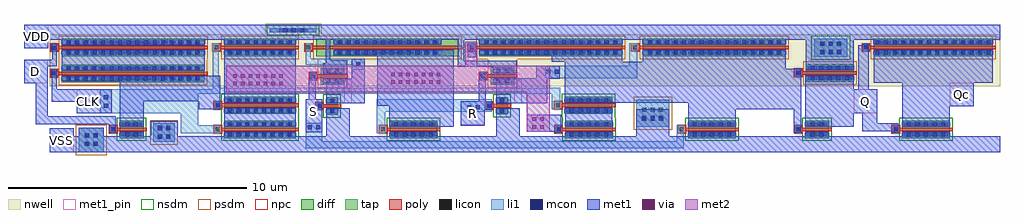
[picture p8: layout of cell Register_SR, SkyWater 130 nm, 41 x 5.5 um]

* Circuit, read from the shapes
.subckt Register_SR CLK D Q Qc R S VDD VSS
XM1 n1 D VSS VSS sky130_fd_pr__nfet_01v8 w=1 l=0.15
XM2 n2 CLK VSS VSS sky130_fd_pr__nfet_01v8 w=3 l=0.15
XM3 n3 n1 n2 VSS sky130_fd_pr__nfet_01v8 w=3 l=0.15
XM4 Inv2-1_3/Out S VSS VSS sky130_fd_pr__nfet_01v8 w=0.5 l=0.15
XM5 n3 R VSS VSS sky130_fd_pr__nfet_01v8 w=2 l=0.15
XM6 Inv2-1_8/Out R VSS VSS sky130_fd_pr__nfet_01v8 w=0.5 l=0.15
XM7 n4 CLK n5 VSS sky130_fd_pr__nfet_01v8 w=2 l=0.15
XM8 n5 n3 VSS VSS sky130_fd_pr__nfet_01v8 w=2 l=0.15
XM9 n4 S VSS VSS sky130_fd_pr__nfet_01v8 w=2 l=0.15
XM10 Q n4 VSS VSS sky130_fd_pr__nfet_01v8 w=1 l=0.15
XM11 Qc Q VSS VSS sky130_fd_pr__nfet_01v8 w=2 l=0.15
XM12 n6 CLK n1 VDD sky130_fd_pr__pfet_01v8 w=6 l=0.15
XM13 VDD D n6 VDD sky130_fd_pr__pfet_01v8 w=6 l=0.15
XM14 VDD CLK n3 VDD sky130_fd_pr__pfet_01v8 w=3 l=0.15
XM15 VDD Inv2-1_3/Out n3 VDD sky130_fd_pr__pfet_01v8 w=6 l=0.15
XM16 VDD S Inv2-1_3/Out VDD sky130_fd_pr__pfet_01v8 w=1 l=0.15
XM17 VDD n3 n4 VDD sky130_fd_pr__pfet_01v8 w=6 l=0.15
XM18 VDD R Inv2-1_8/Out VDD sky130_fd_pr__pfet_01v8 w=1 l=0.15
XM19 VDD Inv2-1_8/Out n4 VDD sky130_fd_pr__pfet_01v8 w=6 l=0.15
XM20 VDD n4 Q VDD sky130_fd_pr__pfet_01v8 w=2 l=0.15
XM21 VDD Q Qc VDD sky130_fd_pr__pfet_01v8 w=5 l=0.15
.ends

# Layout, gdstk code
from math import pi, radians
import gdstk
lib = gdstk.Library(unit=1e-6, precision=1e-09)
def R(c, l, rs):  # rectangles x0, y0, x1, y1
    for r in rs: c.add(gdstk.rectangle(r[:2], r[2:], *l))
def A(c, l, x, y, w, h, nx, ny, dx, dy):  # array of equal rectangles
    R(c, l, [(x+i*dx, y+j*dy, x+i*dx+w, y+j*dy+h) for i in range(nx) for j in range(ny)])
nwell = (64, 20)
diff = (65, 20)
tap = (65, 44)
poly = (66, 20)
licon = (66, 44)
li1 = (67, 20)
mcon = (67, 44)
met1_pin = (68, 16)
met1 = (68, 20)
via = (68, 44)
met2 = (69, 20)
nsdm = (93, 44)
psdm = (94, 20)
npc = (95, 20)

sky130_fd_pr__nfet_01v8_ = lib.new_cell('sky130_fd_pr__nfet_01v8_NTFR9R')
R(sky130_fd_pr__nfet_01v8_, diff, [(-0.365,-0.655,0.365,0.345)])
R(sky130_fd_pr__nfet_01v8_, poly, [(-0.075,-0.785,0.075,0.455), (-0.165,0.455,0.165,0.785)])
A(sky130_fd_pr__nfet_01v8_, licon, -0.305, -0.58, 0.17, 0.17, 1, 3, 0, 0.34)
A(sky130_fd_pr__nfet_01v8_, licon, 0.135, -0.58, 0.17, 0.17, 1, 3, 0, 0.34)
R(sky130_fd_pr__nfet_01v8_, licon, [(-0.085,0.535,0.085,0.705)])
R(sky130_fd_pr__nfet_01v8_, li1, [(-0.305,-0.675,-0.135,0.365), (0.135,-0.675,0.305,0.365), (-0.165,0.535,0.165,0.705)])
R(sky130_fd_pr__nfet_01v8_, mcon, [(-0.305,-0.42,-0.135,-0.25), (0.135,-0.42,0.305,-0.25), (-0.305,-0.06,-0.135,0.11), (0.135,-0.06,0.305,0.11), (-0.085,0.535,0.085,0.705)])
R(sky130_fd_pr__nfet_01v8_, met1, [(-0.335,-0.655,-0.105,0.345), (0.105,-0.655,0.335,0.345), (-0.145,0.505,0.145,0.735)])
R(sky130_fd_pr__nfet_01v8_, nsdm, [(-0.49,-0.78,0.49,0.47)])
R(sky130_fd_pr__nfet_01v8_, npc, [(-0.185,0.435,0.185,0.805)])

sky130_fd_pr__pfet_01v8_ = lib.new_cell('sky130_fd_pr__pfet_01v8_C6DMSJ')
R(sky130_fd_pr__pfet_01v8_, nwell, [(-0.545,-3.49,0.545,3.32)])
R(sky130_fd_pr__pfet_01v8_, diff, [(-0.365,-3.18,0.365,2.82)])
R(sky130_fd_pr__pfet_01v8_, poly, [(-0.075,-3.31,0.075,2.975), (-0.165,2.975,0.165,3.305)])
A(sky130_fd_pr__pfet_01v8_, licon, -0.305, -2.985, 0.17, 0.17, 1, 17, 0, 0.34)
A(sky130_fd_pr__pfet_01v8_, licon, 0.135, -2.985, 0.17, 0.17, 1, 17, 0, 0.34)
R(sky130_fd_pr__pfet_01v8_, licon, [(-0.085,3.055,0.085,3.225)])
R(sky130_fd_pr__pfet_01v8_, li1, [(-0.305,-3.2,-0.135,2.84), (0.135,-3.2,0.305,2.84), (-0.165,3.055,0.165,3.225)])
A(sky130_fd_pr__pfet_01v8_, mcon, -0.305, -2.965, 0.17, 0.17, 1, 16, 0, 0.36)
A(sky130_fd_pr__pfet_01v8_, mcon, 0.135, -2.965, 0.17, 0.17, 1, 16, 0, 0.36)
R(sky130_fd_pr__pfet_01v8_, mcon, [(-0.085,3.055,0.085,3.225)])
R(sky130_fd_pr__pfet_01v8_, met1, [(-0.335,-3.18,-0.105,2.82), (0.105,-3.18,0.335,2.82), (-0.145,3.025,0.145,3.255)])
R(sky130_fd_pr__pfet_01v8_, psdm, [(-0.49,-3.305,0.49,2.945)])
R(sky130_fd_pr__pfet_01v8_, npc, [(-0.185,2.955,0.185,3.325)])

c_sky130_fd_pr__pfet_01v8_ = lib.new_cell('sky130_fd_pr__pfet_01v8_F97YLM')
R(c_sky130_fd_pr__pfet_01v8_, nwell, [(-0.545,-0.99,0.545,0.82)])
R(c_sky130_fd_pr__pfet_01v8_, diff, [(-0.365,-0.68,0.365,0.32)])
R(c_sky130_fd_pr__pfet_01v8_, poly, [(-0.075,-0.81,0.075,0.475), (-0.165,0.475,0.165,0.805)])
R(c_sky130_fd_pr__pfet_01v8_, licon, [(-0.305,-0.435,-0.135,-0.265), (0.135,-0.435,0.305,-0.265), (-0.305,-0.095,-0.135,0.075), (0.135,-0.095,0.305,0.075), (-0.085,0.555,0.085,0.725)])
R(c_sky130_fd_pr__pfet_01v8_, li1, [(-0.305,-0.59,-0.135,0.23), (0.135,-0.59,0.305,0.23), (-0.165,0.555,0.165,0.725)])
R(c_sky130_fd_pr__pfet_01v8_, mcon, [(-0.305,-0.445,-0.135,-0.275), (0.135,-0.445,0.305,-0.275), (-0.305,-0.085,-0.135,0.085), (0.135,-0.085,0.305,0.085), (-0.085,0.555,0.085,0.725)])
R(c_sky130_fd_pr__pfet_01v8_, met1, [(-0.335,-0.57,-0.105,0.21), (0.105,-0.57,0.335,0.21), (-0.145,0.525,0.145,0.755)])
R(c_sky130_fd_pr__pfet_01v8_, psdm, [(-0.49,-0.805,0.49,0.445)])
R(c_sky130_fd_pr__pfet_01v8_, npc, [(-0.185,0.455,0.185,0.825)])

c_sky130_fd_pr__nfet_01v8_ = lib.new_cell('sky130_fd_pr__nfet_01v8_8DMXDH')
R(c_sky130_fd_pr__nfet_01v8_, diff, [(-0.365,-0.405,0.365,0.095)])
R(c_sky130_fd_pr__nfet_01v8_, poly, [(-0.075,-0.535,0.075,0.205), (-0.165,0.205,0.165,0.535)])
R(c_sky130_fd_pr__nfet_01v8_, licon, [(-0.305,-0.24,-0.135,-0.07), (0.135,-0.24,0.305,-0.07), (-0.085,0.285,0.085,0.455)])
R(c_sky130_fd_pr__nfet_01v8_, li1, [(-0.305,-0.425,-0.135,0.115), (0.135,-0.425,0.305,0.115), (-0.165,0.285,0.165,0.455)])
R(c_sky130_fd_pr__nfet_01v8_, mcon, [(-0.305,-0.24,-0.135,-0.07), (0.135,-0.24,0.305,-0.07), (-0.085,0.285,0.085,0.455)])
R(c_sky130_fd_pr__nfet_01v8_, met1, [(-0.335,-0.405,-0.105,0.095), (0.105,-0.405,0.335,0.095), (-0.145,0.255,0.145,0.485)])
R(c_sky130_fd_pr__nfet_01v8_, nsdm, [(-0.49,-0.53,0.49,0.22)])
R(c_sky130_fd_pr__nfet_01v8_, npc, [(-0.185,0.185,0.185,0.555)])

inv2_1 = lib.new_cell('Inv2-1')
R(inv2_1, met1_pin, [(2.73,-3.84,3.04,-2.84)])
R(inv2_1, met1, [(1.96,-4.31,2.96,-4.05), (1.23,-4.11,1.8,-3.78), (1.96,-3.84,3.04,-2.95), (1.23,-3.78,1.52,-2.84), (2.06,-2.95,3.04,-2.8), (1.84,-2.59,2.84,-2.15)])
inv2_1.add(gdstk.Reference(c_sky130_fd_pr__pfet_01v8_, (2.05,-2.695), rotation=pi/2))
inv2_1.add(gdstk.Reference(c_sky130_fd_pr__nfet_01v8_, (2.055,-3.945), rotation=pi/2))
inv2_1.add(gdstk.Label('Out', (2.885,-3.34), layer=68, texttype=5))

c_sky130_fd_pr__pfet_01v8__ = lib.new_cell('sky130_fd_pr__pfet_01v8_8SDNUD')
R(c_sky130_fd_pr__pfet_01v8__, nwell, [(-0.545,-3.49,0.545,3.32)])
R(c_sky130_fd_pr__pfet_01v8__, diff, [(-0.365,-3.18,0.365,2.82)])
R(c_sky130_fd_pr__pfet_01v8__, poly, [(-0.075,-3.31,0.075,2.975), (-0.165,2.975,0.165,3.305)])
A(c_sky130_fd_pr__pfet_01v8__, licon, -0.305, -2.305, 0.17, 0.17, 1, 13, 0, 0.34)
A(c_sky130_fd_pr__pfet_01v8__, licon, 0.135, -2.305, 0.17, 0.17, 1, 13, 0, 0.34)
R(c_sky130_fd_pr__pfet_01v8__, licon, [(-0.085,3.055,0.085,3.225)])
R(c_sky130_fd_pr__pfet_01v8__, li1, [(-0.305,-2.465,-0.135,2.105), (0.135,-2.465,0.305,2.105), (-0.165,3.055,0.165,3.225)])
A(c_sky130_fd_pr__pfet_01v8__, mcon, -0.305, -2.245, 0.17, 0.17, 1, 12, 0, 0.36)
A(c_sky130_fd_pr__pfet_01v8__, mcon, 0.135, -2.245, 0.17, 0.17, 1, 12, 0, 0.36)
R(c_sky130_fd_pr__pfet_01v8__, met1, [(-0.335,-2.445,-0.105,2.085), (0.105,-2.445,0.335,2.085)])
R(c_sky130_fd_pr__pfet_01v8__, psdm, [(-0.49,-3.305,0.49,2.945)])
R(c_sky130_fd_pr__pfet_01v8__, npc, [(-0.185,2.955,0.185,3.325)])

c_sky130_fd_pr__nfet_01v8__ = lib.new_cell('sky130_fd_pr__nfet_01v8_5R7S7E')
R(c_sky130_fd_pr__nfet_01v8__, diff, [(-0.365,-1.655,0.365,1.345)])
R(c_sky130_fd_pr__nfet_01v8__, poly, [(-0.075,-1.785,0.075,1.455), (-0.165,1.455,0.165,1.785)])
A(c_sky130_fd_pr__nfet_01v8__, licon, -0.305, -1.43, 0.17, 0.17, 1, 8, 0, 0.34)
A(c_sky130_fd_pr__nfet_01v8__, licon, 0.135, -1.43, 0.17, 0.17, 1, 8, 0, 0.34)
R(c_sky130_fd_pr__nfet_01v8__, licon, [(-0.085,1.535,0.085,1.705)])
R(c_sky130_fd_pr__nfet_01v8__, li1, [(-0.305,-1.675,-0.135,1.365), (0.135,-1.675,0.305,1.365), (-0.165,1.535,0.165,1.705)])
A(c_sky130_fd_pr__nfet_01v8__, mcon, -0.305, -1.5, 0.17, 0.17, 1, 8, 0, 0.36)
A(c_sky130_fd_pr__nfet_01v8__, mcon, 0.135, -1.5, 0.17, 0.17, 1, 8, 0, 0.36)
R(c_sky130_fd_pr__nfet_01v8__, met1, [(-0.335,-1.655,-0.105,1.345), (0.105,-1.655,0.335,1.345)])
R(c_sky130_fd_pr__nfet_01v8__, nsdm, [(-0.49,-1.78,0.49,1.47)])
R(c_sky130_fd_pr__nfet_01v8__, npc, [(-0.185,1.435,0.185,1.805)])

c_sky130_fd_pr__pfet_01v8___ = lib.new_cell('sky130_fd_pr__pfet_01v8_YRA8CD')
R(c_sky130_fd_pr__pfet_01v8___, nwell, [(-0.545,-1.99,0.545,1.82)])
R(c_sky130_fd_pr__pfet_01v8___, diff, [(-0.365,-1.68,0.365,1.32)])
R(c_sky130_fd_pr__pfet_01v8___, poly, [(-0.075,-1.81,0.075,1.475), (-0.165,1.475,0.165,1.805)])
A(c_sky130_fd_pr__pfet_01v8___, licon, -0.305, -1.455, 0.17, 0.17, 1, 8, 0, 0.34)
A(c_sky130_fd_pr__pfet_01v8___, licon, 0.135, -1.455, 0.17, 0.17, 1, 8, 0, 0.34)
R(c_sky130_fd_pr__pfet_01v8___, licon, [(-0.085,1.555,0.085,1.725)])
R(c_sky130_fd_pr__pfet_01v8___, li1, [(-0.305,-1.7,-0.135,1.34), (0.135,-1.7,0.305,1.34), (-0.165,1.555,0.165,1.725)])
A(c_sky130_fd_pr__pfet_01v8___, mcon, -0.305, -1.525, 0.17, 0.17, 1, 8, 0, 0.36)
A(c_sky130_fd_pr__pfet_01v8___, mcon, 0.135, -1.525, 0.17, 0.17, 1, 8, 0, 0.36)
R(c_sky130_fd_pr__pfet_01v8___, met1, [(-0.335,-1.68,-0.105,1.32), (0.105,-1.68,0.335,1.32)])
R(c_sky130_fd_pr__pfet_01v8___, psdm, [(-0.49,-1.805,0.49,1.445)])
R(c_sky130_fd_pr__pfet_01v8___, npc, [(-0.185,1.455,0.185,1.825)])

c_sky130_fd_pr__nfet_01v8___ = lib.new_cell('sky130_fd_pr__nfet_01v8_KNTFKG')
R(c_sky130_fd_pr__nfet_01v8___, diff, [(-0.365,-1.655,0.365,1.345)])
R(c_sky130_fd_pr__nfet_01v8___, poly, [(-0.075,-1.785,0.075,1.455), (-0.165,1.455,0.165,1.785)])
A(c_sky130_fd_pr__nfet_01v8___, licon, -0.305, -1.43, 0.17, 0.17, 1, 8, 0, 0.34)
A(c_sky130_fd_pr__nfet_01v8___, licon, 0.135, -1.43, 0.17, 0.17, 1, 8, 0, 0.34)
R(c_sky130_fd_pr__nfet_01v8___, licon, [(-0.085,1.535,0.085,1.705)])
R(c_sky130_fd_pr__nfet_01v8___, li1, [(-0.305,-1.675,-0.135,1.365), (0.135,-1.675,0.305,1.365), (-0.165,1.535,0.165,1.705)])
A(c_sky130_fd_pr__nfet_01v8___, mcon, -0.305, -1.5, 0.17, 0.17, 1, 8, 0, 0.36)
A(c_sky130_fd_pr__nfet_01v8___, mcon, 0.135, -1.5, 0.17, 0.17, 1, 8, 0, 0.36)
R(c_sky130_fd_pr__nfet_01v8___, mcon, [(-0.085,1.535,0.085,1.705)])
R(c_sky130_fd_pr__nfet_01v8___, met1, [(-0.335,-1.655,-0.105,1.345), (0.105,-1.655,0.335,1.345), (-0.145,1.505,0.145,1.735)])
R(c_sky130_fd_pr__nfet_01v8___, nsdm, [(-0.49,-1.78,0.49,1.47)])
R(c_sky130_fd_pr__nfet_01v8___, npc, [(-0.185,1.435,0.185,1.805)])

c_sky130_fd_pr__nfet_01v8____ = lib.new_cell('sky130_fd_pr__nfet_01v8_TUG65L')
R(c_sky130_fd_pr__nfet_01v8____, diff, [(-0.365,-1.155,0.365,0.845)])
R(c_sky130_fd_pr__nfet_01v8____, poly, [(-0.075,-1.285,0.075,0.955), (-0.165,0.955,0.165,1.285)])
A(c_sky130_fd_pr__nfet_01v8____, licon, -0.305, -1.09, 0.17, 0.17, 1, 6, 0, 0.34)
A(c_sky130_fd_pr__nfet_01v8____, licon, 0.135, -1.09, 0.17, 0.17, 1, 6, 0, 0.34)
R(c_sky130_fd_pr__nfet_01v8____, licon, [(-0.085,1.035,0.085,1.205)])
R(c_sky130_fd_pr__nfet_01v8____, li1, [(-0.305,-1.175,-0.135,0.865), (0.135,-1.175,0.305,0.865), (-0.165,1.035,0.165,1.205)])
A(c_sky130_fd_pr__nfet_01v8____, mcon, -0.305, -0.96, 0.17, 0.17, 1, 5, 0, 0.36)
A(c_sky130_fd_pr__nfet_01v8____, mcon, 0.135, -0.96, 0.17, 0.17, 1, 5, 0, 0.36)
R(c_sky130_fd_pr__nfet_01v8____, met1, [(-0.335,-1.155,-0.105,0.845), (0.105,-1.155,0.335,0.845)])
R(c_sky130_fd_pr__nfet_01v8____, nsdm, [(-0.49,-1.28,0.49,0.97)])
R(c_sky130_fd_pr__nfet_01v8____, npc, [(-0.185,0.935,0.185,1.305)])

c_sky130_fd_pr__pfet_01v8____ = lib.new_cell('sky130_fd_pr__pfet_01v8_BF47CD')
R(c_sky130_fd_pr__pfet_01v8____, nwell, [(-0.545,-3.49,0.545,3.32)])
R(c_sky130_fd_pr__pfet_01v8____, diff, [(-0.365,-3.18,0.365,2.82)])
R(c_sky130_fd_pr__pfet_01v8____, poly, [(-0.075,-3.31,0.075,2.975), (-0.165,2.975,0.165,3.305)])
A(c_sky130_fd_pr__pfet_01v8____, licon, -0.305, -2.985, 0.17, 0.17, 1, 17, 0, 0.34)
A(c_sky130_fd_pr__pfet_01v8____, licon, 0.135, -2.985, 0.17, 0.17, 1, 17, 0, 0.34)
R(c_sky130_fd_pr__pfet_01v8____, licon, [(-0.085,3.055,0.085,3.225)])
R(c_sky130_fd_pr__pfet_01v8____, li1, [(-0.305,-3.2,-0.135,2.84), (0.135,-3.2,0.305,2.84), (-0.165,3.055,0.165,3.225)])
A(c_sky130_fd_pr__pfet_01v8____, mcon, -0.305, -2.965, 0.17, 0.17, 1, 16, 0, 0.36)
A(c_sky130_fd_pr__pfet_01v8____, mcon, 0.135, -2.965, 0.17, 0.17, 1, 16, 0, 0.36)
R(c_sky130_fd_pr__pfet_01v8____, met1, [(-0.335,-3.18,-0.105,2.82), (0.105,-3.18,0.335,2.82)])
R(c_sky130_fd_pr__pfet_01v8____, psdm, [(-0.49,-3.305,0.49,2.945)])
R(c_sky130_fd_pr__pfet_01v8____, npc, [(-0.185,2.955,0.185,3.325)])

c_sky130_fd_pr__nfet_01v8_____ = lib.new_cell('sky130_fd_pr__nfet_01v8_28RQMS')
R(c_sky130_fd_pr__nfet_01v8_____, diff, [(-0.365,-1.155,0.365,0.845)])
R(c_sky130_fd_pr__nfet_01v8_____, poly, [(-0.075,-1.285,0.075,0.955), (-0.165,0.955,0.165,1.285)])
A(c_sky130_fd_pr__nfet_01v8_____, licon, -0.305, -1.09, 0.17, 0.17, 1, 6, 0, 0.34)
A(c_sky130_fd_pr__nfet_01v8_____, licon, 0.135, -1.09, 0.17, 0.17, 1, 6, 0, 0.34)
R(c_sky130_fd_pr__nfet_01v8_____, licon, [(-0.085,1.035,0.085,1.205)])
R(c_sky130_fd_pr__nfet_01v8_____, li1, [(-0.305,-1.175,-0.135,0.865), (0.135,-1.175,0.305,0.865), (-0.165,1.035,0.165,1.205)])
A(c_sky130_fd_pr__nfet_01v8_____, mcon, -0.305, -0.96, 0.17, 0.17, 1, 5, 0, 0.36)
A(c_sky130_fd_pr__nfet_01v8_____, mcon, 0.135, -0.96, 0.17, 0.17, 1, 5, 0, 0.36)
R(c_sky130_fd_pr__nfet_01v8_____, mcon, [(-0.085,1.035,0.085,1.205)])
R(c_sky130_fd_pr__nfet_01v8_____, met1, [(-0.335,-1.155,-0.105,0.845), (0.105,-1.155,0.335,0.845), (-0.145,1.005,0.145,1.235)])
R(c_sky130_fd_pr__nfet_01v8_____, nsdm, [(-0.49,-1.28,0.49,0.97)])
R(c_sky130_fd_pr__nfet_01v8_____, npc, [(-0.185,0.935,0.185,1.305)])

c_sky130_fd_pr__pfet_01v8_____ = lib.new_cell('sky130_fd_pr__pfet_01v8_C6E4QJ')
R(c_sky130_fd_pr__pfet_01v8_____, nwell, [(-0.545,-1.49,0.545,1.32)])
R(c_sky130_fd_pr__pfet_01v8_____, diff, [(-0.365,-1.18,0.365,0.82)])
R(c_sky130_fd_pr__pfet_01v8_____, poly, [(-0.075,-1.31,0.075,0.975), (-0.165,0.975,0.165,1.305)])
A(c_sky130_fd_pr__pfet_01v8_____, licon, -0.305, -1.115, 0.17, 0.17, 1, 6, 0, 0.34)
A(c_sky130_fd_pr__pfet_01v8_____, licon, 0.135, -1.115, 0.17, 0.17, 1, 6, 0, 0.34)
R(c_sky130_fd_pr__pfet_01v8_____, licon, [(-0.085,1.055,0.085,1.225)])
R(c_sky130_fd_pr__pfet_01v8_____, li1, [(-0.305,-1.2,-0.135,0.84), (0.135,-1.2,0.305,0.84), (-0.165,1.055,0.165,1.225)])
A(c_sky130_fd_pr__pfet_01v8_____, mcon, -0.305, -0.985, 0.17, 0.17, 1, 5, 0, 0.36)
A(c_sky130_fd_pr__pfet_01v8_____, mcon, 0.135, -0.985, 0.17, 0.17, 1, 5, 0, 0.36)
R(c_sky130_fd_pr__pfet_01v8_____, mcon, [(-0.085,1.055,0.085,1.225)])
R(c_sky130_fd_pr__pfet_01v8_____, met1, [(-0.335,-1.18,-0.105,0.82), (0.105,-1.18,0.335,0.82), (-0.145,1.025,0.145,1.255)])
R(c_sky130_fd_pr__pfet_01v8_____, psdm, [(-0.49,-1.305,0.49,0.945)])
R(c_sky130_fd_pr__pfet_01v8_____, npc, [(-0.185,0.955,0.185,1.325)])

c_sky130_fd_pr__pfet_01v8______ = lib.new_cell('sky130_fd_pr__pfet_01v8_CW7USJ')
R(c_sky130_fd_pr__pfet_01v8______, nwell, [(-0.545,-2.99,0.545,2.82)])
R(c_sky130_fd_pr__pfet_01v8______, diff, [(-0.365,-2.68,0.365,2.32)])
R(c_sky130_fd_pr__pfet_01v8______, poly, [(-0.075,-2.81,0.075,2.475), (-0.165,2.475,0.165,2.805)])
A(c_sky130_fd_pr__pfet_01v8______, licon, -0.305, -2.475, 0.17, 0.17, 1, 14, 0, 0.34)
A(c_sky130_fd_pr__pfet_01v8______, licon, 0.135, -2.475, 0.17, 0.17, 1, 14, 0, 0.34)
R(c_sky130_fd_pr__pfet_01v8______, licon, [(-0.085,2.555,0.085,2.725)])
R(c_sky130_fd_pr__pfet_01v8______, li1, [(-0.305,-2.7,-0.135,2.34), (0.135,-2.7,0.305,2.34), (-0.165,2.555,0.165,2.725)])
A(c_sky130_fd_pr__pfet_01v8______, mcon, -0.305, -2.605, 0.17, 0.17, 1, 14, 0, 0.36)
A(c_sky130_fd_pr__pfet_01v8______, mcon, 0.135, -2.605, 0.17, 0.17, 1, 14, 0, 0.36)
R(c_sky130_fd_pr__pfet_01v8______, mcon, [(-0.085,2.555,0.085,2.725)])
R(c_sky130_fd_pr__pfet_01v8______, met1, [(-0.335,-2.68,-0.105,2.32), (0.105,-2.68,0.335,2.32), (-0.145,2.525,0.145,2.755)])
R(c_sky130_fd_pr__pfet_01v8______, psdm, [(-0.49,-2.805,0.49,2.445)])
R(c_sky130_fd_pr__pfet_01v8______, npc, [(-0.185,2.455,0.185,2.825)])

register_sr = lib.new_cell('Register_SR')
R(register_sr, nwell, [(2.56,-6.28,42.48,-4.1), (11.62,-4.1,13.98,-3.66)])
R(register_sr, tap, [(3.78,-9.04,4.84,-8.02), (6.91,-8.61,7.82,-7.83), (27.21,-7.97,28.58,-6.84), (34.68,-5.04,36.06,-4.28), (11.8,-4.01,13.76,-3.84)])
A(register_sr, licon, 27.46, -7.68, 0.17, 0.17, 3, 2, 0.34, 0.34)
A(register_sr, licon, 34.95, -4.92, 0.17, 0.17, 3, 2, 0.34, 0.34)
A(register_sr, licon, 12.2, -4.01, 0.17, 0.17, 4, 1, 0.34, 0)
R(register_sr, licon, [(4.05,-8.775,4.22,-8.605), (4.39,-8.775,4.56,-8.605), (7.11,-8.465,7.28,-8.295), (7.45,-8.465,7.62,-8.295), (4.05,-8.435,4.22,-8.265), (4.39,-8.435,4.56,-8.265), (7.11,-8.125,7.28,-7.955), (7.45,-8.125,7.62,-7.955)])
R(register_sr, li1, [(3.78,-9.04,4.84,-8.02), (13.31,-8.89,29.19,-8.59), (6.91,-8.61,7.82,-7.83), (13.31,-8.59,14.01,-7.82), (28.91,-8.59,29.19,-7.92), (8.07,-8.25,9.64,-7.92), (16.29,-8.25,16.65,-7.35), (27.21,-7.97,28.58,-6.84), (8.07,-7.92,8.81,-7.4), (4.69,-7.4,8.81,-6.6), (16.29,-7.35,21.12,-6.83), (23.65,-7.24,24.01,-6.6), (4.69,-6.6,24.01,-6.4), (9.41,-6.4,24.01,-6.33), (9.41,-6.33,9.67,-4.48), (23.37,-5.94,27.25,-5.41), (15.25,-5.58,15.79,-5.37), (26.91,-5.41,27.25,-4.48), (13.31,-5.37,15.79,-5.12), (13.31,-5.12,13.52,-4.48), (34.68,-5.04,36.06,-4.28), (11.8,-4.01,13.76,-3.84)])
A(register_sr, mcon, 27.44, -7.725, 0.17, 0.17, 3, 1, 0.36, 0)
A(register_sr, mcon, 34.93, -4.93, 0.17, 0.17, 3, 2, 0.36, 0.36)
A(register_sr, mcon, 12.365, -4.01, 0.17, 0.17, 3, 1, 0.36, 0)
R(register_sr, mcon, [(4.04,-8.785,4.21,-8.615), (4.4,-8.785,4.57,-8.615), (7.1,-8.475,7.27,-8.305), (7.46,-8.475,7.63,-8.305), (4.04,-8.425,4.21,-8.255), (4.4,-8.425,4.57,-8.255), (7.1,-8.115,7.27,-7.945), (7.46,-8.115,7.63,-7.945), (13.395,-8.09,13.565,-7.92), (13.755,-8.09,13.925,-7.92), (20.09,-7.25,20.26,-7.08), (20.45,-7.25,20.62,-7.08), (4.84,-7.175,5.01,-7.005), (4.84,-6.815,5.01,-6.645), (23.41,-5.755,23.58,-5.585), (23.77,-5.755,23.94,-5.585), (15.44,-5.44,15.61,-5.27)])
R(register_sr, met1_pin, [(2.56,-9.04,3.56,-8.04), (19.83,-7.9,20.83,-6.9), (13.31,-7.82,14.01,-6.82), (36.33,-7.41,37.33,-6.41), (3.69,-7.4,4.69,-6.4), (40.37,-7.12,41.37,-6.12), (1.48,-6.16,2.48,-5.16), (1.49,-4.69,2.49,-3.69)])
R(register_sr, met1, [(2.56,-9.04,42.48,-8.37), (2.56,-8.37,3.56,-8.04), (3.78,-8.37,4.84,-8.02), (6.81,-8.37,7.93,-7.74), (14.17,-8.37,15.17,-7.21), (21.31,-8.37,22.31,-7.2), (27.21,-8.37,28.58,-7.25), (5.06,-8.23,5.34,-7.88), (33.81,-8.23,34.13,-7.25), (13.31,-8.21,14.01,-6.82), (22.6,-8.19,24.05,-7.47), (36.69,-8.17,38.21,-7.83), (5.5,-7.98,6.5,-6.91), (9.89,-7.98,12.89,-7.18), (24.21,-7.98,26.2,-7.18), (29.38,-7.98,31.38,-7.25), (34.29,-7.98,36.33,-7.41), (38.37,-7.98,40.37,-7.12), (16.83,-7.97,19.54,-7.09), (19.83,-7.94,20.83,-6.9), (1.98,-7.88,5.34,-7.54), (36.69,-7.83,37.33,-7.41), (1.98,-7.54,2.48,-6.16), (34.29,-7.41,37.33,-6.41), (3.69,-7.4,5.17,-6.93), (29.38,-7.25,34.13,-6.97), (8.82,-7.24,9.73,-6.91), (38.37,-7.12,41.37,-6.12), (16.31,-7.09,19.54,-4.75), (15.25,-7,15.79,-5.12), (22.39,-6.99,23.46,-5.96), (9.89,-6.97,12.89,-4.75), (24.2,-6.97,34.13,-5.96), (2.65,-6.93,5.17,-6.4), (5.5,-6.91,9.73,-6.05), (34.29,-6.41,36.33,-5.82), (36.53,-6.41,36.97,-4.56), (2.65,-6.4,2.86,-5.59), (1.48,-6.16,2.48,-5.44), (37.17,-6.12,42.17,-4.75), (3.06,-6.05,9.73,-5.84), (22.39,-5.96,23.99,-5.95), (24.19,-5.96,34.13,-5.55), (22.99,-5.95,23.99,-5.42), (3.06,-5.63,9.07,-4.75), (14.16,-5.63,14.4,-5.6), (34.33,-5.61,36.33,-4.32), (14.16,-5.6,14.42,-5.38), (21.19,-5.6,21.4,-5.56), (21.19,-5.56,21.59,-5.49), (24.19,-5.55,33.48,-5.25), (21.19,-5.49,22.19,-5.46), (19.71,-5.46,22.19,-5.2), (1.48,-5.44,2.86,-5.16), (14.47,-5.42,14.76,-5.38), (14.16,-5.38,14.78,-5.37), (14.16,-5.37,15.05,-5.19), (23.65,-5.25,33.48,-5.24), (23.65,-5.24,26.61,-4.75), (27.48,-5.24,33.48,-4.75), (19.71,-5.2,19.97,-4.32), (14.16,-5.19,14.34,-4.32), (2.66,-5.16,2.86,-4.5), (20.12,-5.06,20.46,-4.46), (1.49,-4.69,2.49,-4.32), (1.49,-4.32,42.48,-3.69)])
A(register_sr, via, 10.275, -6.235, 0.15, 0.15, 7, 2, 0.32, 0.32)
A(register_sr, via, 16.905, -6.175, 0.15, 0.15, 7, 2, 0.32, 0.32)
R(register_sr, via, [(22.84,-8.055,22.99,-7.905), (23.16,-8.055,23.31,-7.905), (22.84,-7.735,22.99,-7.585), (23.16,-7.735,23.31,-7.585), (20.205,-4.845,20.355,-4.695)])
R(register_sr, met2, [(22.6,-8.19,23.57,-7.45), (22.61,-7.45,23.57,-6.52), (9.97,-6.52,23.57,-5.41), (20.02,-5.41,20.53,-4.4)])
R(register_sr, nsdm, [(9.765,-7.595,13.015,-7.565), (24.085,-7.595,26.325,-7.565), (34.555,-5.165,36.185,-4.155), (11.675,-4.135,13.885,-3.715)])
R(register_sr, psdm, [(3.655,-9.165,4.965,-7.895), (6.785,-8.735,7.945,-7.705), (27.085,-8.095,28.705,-6.715), (13.815,-5.365,15.065,-5.135), (20.955,-5.355,22.205,-5.135), (2.94,-5.245,9.185,-5.14)])
register_sr.add(gdstk.Reference(sky130_fd_pr__nfet_01v8_, (5.845,-8.085), rotation=pi/2))
register_sr.add(gdstk.Reference(sky130_fd_pr__pfet_01v8_, (5.885,-4.65), rotation=pi/2))
register_sr.add(gdstk.Reference(sky130_fd_pr__pfet_01v8_, (5.88,-5.735), rotation=pi/2))
register_sr.add(gdstk.Reference(inv2_1, (12.21,-3.16)))
register_sr.add(gdstk.Reference(c_sky130_fd_pr__pfet_01v8__, (16.57,-4.645), rotation=pi/2))
register_sr.add(gdstk.Reference(c_sky130_fd_pr__nfet_01v8__, (11.235,-8.085), rotation=pi/2))
register_sr.add(gdstk.Reference(c_sky130_fd_pr__pfet_01v8___, (11.21,-4.645), rotation=pi/2))
register_sr.add(gdstk.Reference(c_sky130_fd_pr__nfet_01v8___, (11.235,-7.075), rotation=pi/2))
register_sr.add(gdstk.Reference(inv2_1, (19.35,-3.15)))
register_sr.add(gdstk.Reference(c_sky130_fd_pr__nfet_01v8____, (17.685,-8.085), rotation=pi/2))
register_sr.add(gdstk.Reference(sky130_fd_pr__pfet_01v8_, (23.43,-4.645), rotation=pi/2))
register_sr.add(gdstk.Reference(c_sky130_fd_pr__pfet_01v8____, (30.3,-4.645), rotation=pi/2))
register_sr.add(gdstk.Reference(c_sky130_fd_pr__nfet_01v8____, (30.225,-8.085), rotation=pi/2))
register_sr.add(gdstk.Reference(c_sky130_fd_pr__nfet_01v8_____, (25.055,-8.085), rotation=pi/2))
register_sr.add(gdstk.Reference(c_sky130_fd_pr__nfet_01v8____, (25.045,-7.075), rotation=pi/2))
register_sr.add(gdstk.Reference(sky130_fd_pr__nfet_01v8_, (34.635,-8.085), rotation=pi/2))
register_sr.add(gdstk.Reference(c_sky130_fd_pr__pfet_01v8_____, (35.15,-5.715), rotation=pi/2))
register_sr.add(gdstk.Reference(c_sky130_fd_pr__nfet_01v8_____, (39.215,-8.085), rotation=pi/2))
register_sr.add(gdstk.Reference(c_sky130_fd_pr__pfet_01v8______, (39.49,-4.645), rotation=pi/2))
register_sr.add(gdstk.Label('VDD', (1.99,-4.19), layer=68, texttype=5))
register_sr.add(gdstk.Label('Q', (36.83,-6.91), layer=68, texttype=5))
register_sr.add(gdstk.Label('Qc', (40.87,-6.62), layer=68, texttype=5))
register_sr.add(gdstk.Label('S', (13.66,-7.32), layer=68, texttype=5))
register_sr.add(gdstk.Label('R', (20.33,-7.4), layer=68, texttype=5))
register_sr.add(gdstk.Label('VSS', (3.06,-8.54), layer=68, texttype=5))
register_sr.add(gdstk.Label('D', (1.98,-5.66), layer=68, texttype=5))
register_sr.add(gdstk.Label('CLK', (4.19,-6.9), layer=68, texttype=5))

lib.write_gds('Register_SR.gds')
